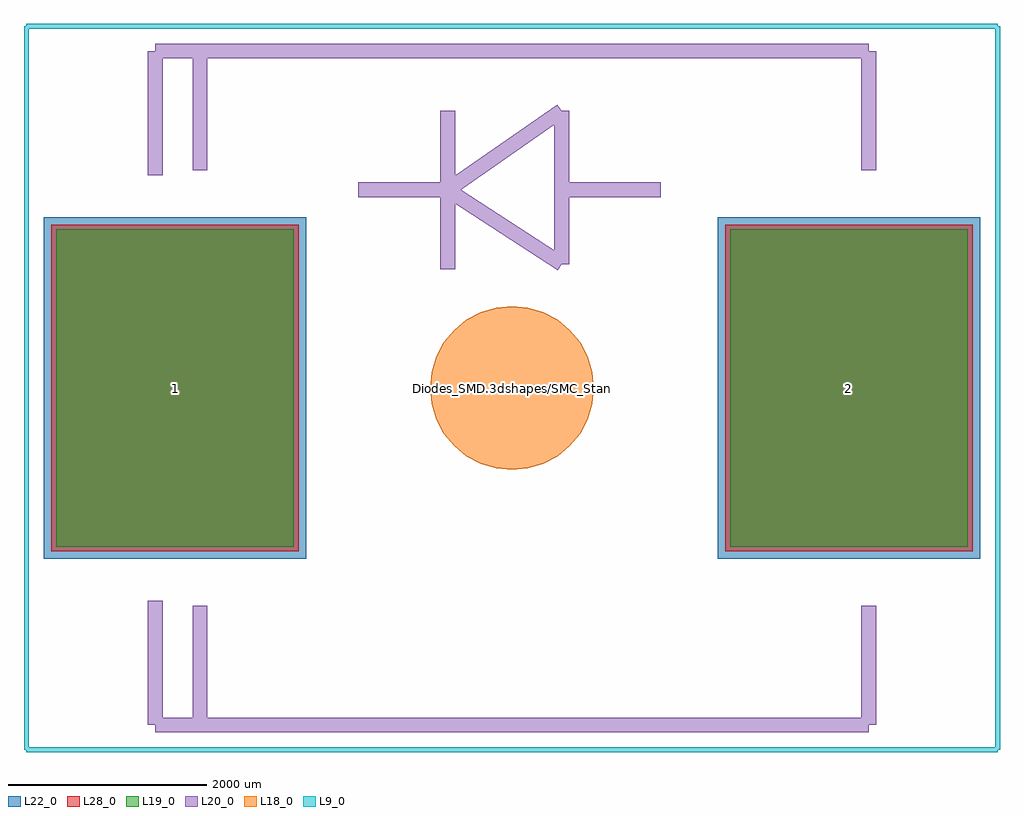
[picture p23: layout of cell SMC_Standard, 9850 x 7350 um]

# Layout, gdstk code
import gdstk
lib = gdstk.Library(unit=1e-6, precision=1e-09)
def R(c, l, rs):  # rectangles x0, y0, x1, y1
    for r in rs: c.add(gdstk.rectangle(r[:2], r[2:], *l))
def P(c, l, *ps):  # polygons
    for p in ps: c.add(gdstk.Polygon(p, *l))
L9_0 = (9, 0)
L18_0 = (18, 0)
L19_0 = (19, 0)
L20_0 = (20, 0)
L22_0 = (22, 0)
L28_0 = (28, 0)

smc_standard = lib.new_cell('SMC_Standard')
P(smc_standard, L18_0, [(211.934,0),(207.862,41.346),(195.801,81.104),(176.217,117.744),(149.86,149.86),(117.744,176.217),(81.104,195.801),(41.346,207.862),(0,211.934),(-41.346,207.862),(-81.104,195.801),(-117.744,176.217),(-149.86,149.86),(-176.217,117.744),(-195.801,81.104),(-207.862,41.346),(-211.934,0),(-207.862,-41.346),(-195.801,-81.104),(-176.217,-117.744),(-149.86,-149.86),(-117.744,-176.217),(-81.104,-195.801),(-41.346,-207.862),(0,-211.934),(41.346,-207.862),(81.104,-195.801),(117.744,-176.217),(149.86,-149.86),(176.217,-117.744),(195.801,-81.104),(207.862,-41.346)],
  [(492.327,0),(482.867,96.048),(454.851,188.405),(409.355,273.522),(348.128,348.128),(273.522,409.355),(188.405,454.851),(96.048,482.867),(0,492.327),(-96.048,482.867),(-188.405,454.851),(-273.522,409.355),(-348.128,348.128),(-409.355,273.522),(-454.851,188.405),(-482.867,96.048),(-492.327,0),(-482.867,-96.048),(-454.851,-188.405),(-409.355,-273.522),(-348.128,-348.128),(-273.522,-409.355),(-188.405,-454.851),(-96.048,-482.867),(0,-492.327),(96.048,-482.867),(188.405,-454.851),(273.522,-409.355),(348.128,-348.128),(409.355,-273.522),(454.851,-188.405),(482.867,-96.048)],
  [(827.233,0),(811.338,161.385),(764.264,316.568),(687.819,459.586),(584.942,584.942),(459.586,687.819),(316.568,764.264),(161.385,811.338),(0,827.233),(-161.385,811.338),(-316.568,764.264),(-459.586,687.819),(-584.942,584.942),(-687.819,459.586),(-764.264,316.568),(-811.338,161.385),(-827.233,0),(-811.338,-161.385),(-764.264,-316.568),(-687.819,-459.586),(-584.942,-584.942),(-459.586,-687.819),(-316.568,-764.264),(-161.385,-811.338),(0,-827.233),(161.385,-811.338),(316.568,-764.264),(459.586,-687.819),(584.942,-584.942),(687.819,-459.586),(764.264,-316.568),(811.338,-161.385)])
R(smc_standard, L19_0, [(-4600.74,-1599.73,-2201.38,1599.73), (2201.38,-1599.73,4600.74,1599.73)])
R(smc_standard, L22_0, [(-4725.74,-1724.73,-2076.38,1724.73), (2076.38,-1724.73,4725.74,1724.73)])
R(smc_standard, L28_0, [(-4650.74,-1649.73,-2151.38,1649.73), (2151.38,-1649.73,4650.74,1649.73)])
smc_standard.add(gdstk.FlexPath([(-3599.18,3401.06),(3599.18,3401.06)], 149.998, ends="flush", simple_path=True, layer=20, datatype=0))  # L20_0
smc_standard.add(gdstk.FlexPath([(-3599.18,-3401.06),(3599.18,-3401.06)], 149.998, ends="flush", simple_path=True, layer=20, datatype=0))  # L20_0
smc_standard.add(gdstk.FlexPath([(-649.44,1998.98),(501.18,2799.08)], 149.998, ends="flush", simple_path=True, layer=20, datatype=0))  # L20_0
smc_standard.add(gdstk.FlexPath([(-649.44,1998.98),(501.18,1249.68)], 149.998, ends="flush", simple_path=True, layer=20, datatype=0))  # L20_0
smc_standard.add(gdstk.FlexPath([(501.18,1249.68),(501.18,2799.08)], 149.998, ends="flush", simple_path=True, layer=20, datatype=0))  # L20_0
smc_standard.add(gdstk.FlexPath([(-649.44,2799.08),(-649.44,1198.88)], 149.998, ends="flush", simple_path=True, layer=20, datatype=0))  # L20_0
smc_standard.add(gdstk.FlexPath([(-3599.18,3401.06),(-3599.18,2148.84)], 149.998, ends="flush", simple_path=True, layer=20, datatype=0))  # L20_0
smc_standard.add(gdstk.FlexPath([(-3599.18,-3401.06),(-3599.18,-2148.84)], 149.998, ends="flush", simple_path=True, layer=20, datatype=0))  # L20_0
smc_standard.add(gdstk.FlexPath([(3599.18,3401.06),(3599.18,2199.64)], 149.998, ends="flush", simple_path=True, layer=20, datatype=0))  # L20_0
smc_standard.add(gdstk.FlexPath([(3599.18,-3401.06),(3599.18,-2199.64)], 149.998, ends="flush", simple_path=True, layer=20, datatype=0))  # L20_0
smc_standard.add(gdstk.FlexPath([(-3149.46,3401.06),(-3149.46,2199.64)], 149.998, ends="flush", simple_path=True, layer=20, datatype=0))  # L20_0
smc_standard.add(gdstk.FlexPath([(-3149.46,-3401.06),(-3149.46,-2199.64)], 149.998, ends="flush", simple_path=True, layer=20, datatype=0))  # L20_0
smc_standard.add(gdstk.FlexPath([(501.18,1998.98),(1499.4,1998.98)], 149.998, ends="flush", simple_path=True, layer=20, datatype=0))  # L20_0
smc_standard.add(gdstk.FlexPath([(-649.44,1998.98),(-1551.14,1998.98)], 149.998, ends="flush", simple_path=True, layer=20, datatype=0))  # L20_0
smc_standard.add(gdstk.FlexPath([(-4900,-3650),(-4900,3650)], 50, ends="flush", simple_path=True, layer=9, datatype=0))  # L9_0
smc_standard.add(gdstk.FlexPath([(4900,-3650),(-4900,-3650)], 50, ends="flush", simple_path=True, layer=9, datatype=0))  # L9_0
smc_standard.add(gdstk.FlexPath([(4900,3650),(4900,-3650)], 50, ends="flush", simple_path=True, layer=9, datatype=0))  # L9_0
smc_standard.add(gdstk.FlexPath([(-4900,3650),(4900,3650)], 50, ends="flush", simple_path=True, layer=9, datatype=0))  # L9_0
smc_standard.add(gdstk.Label('Diodes_SMD.3dshapes/SMC_Standard.wrl', (0,0), layer=12, texttype=0))
smc_standard.add(gdstk.Label('2', (3401.06,0), layer=28, texttype=0))
smc_standard.add(gdstk.Label('1', (-3401.06,0), layer=28, texttype=0))
smc_standard.add(gdstk.Label('type', (0,-5080), layer=9, texttype=0))
smc_standard.add(gdstk.Label('devicename', (0,4700), layer=9, texttype=0))

lib.write_gds('SMC_Standard.gds')
